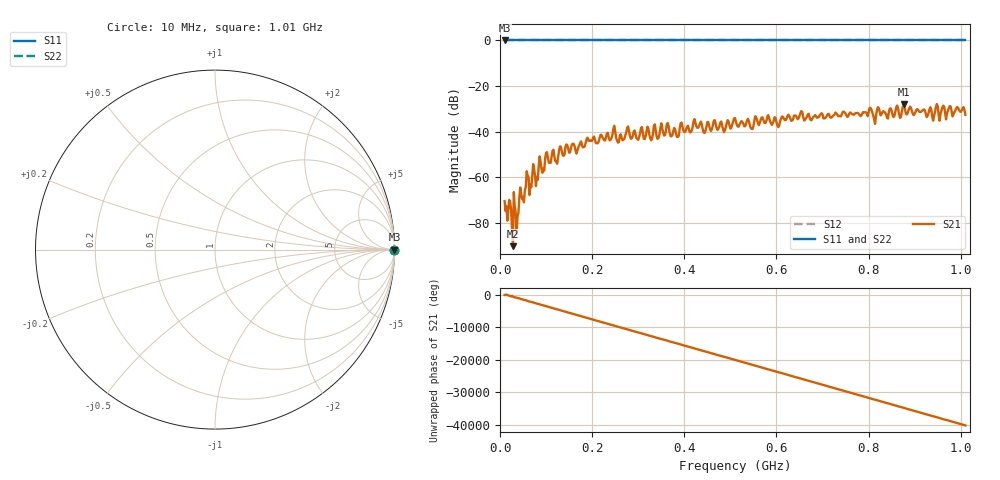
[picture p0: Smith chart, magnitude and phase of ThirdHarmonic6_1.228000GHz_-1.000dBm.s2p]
! 8/16/2025 12:56:48 PM
! C:\ANRITSUVNA\TEMP\TEMP.S2P
! CHANNEL.1
! TR.MEASUREMENT
! RAW.DATA
! RF.CORRECTION.OFF
! AVERAGING.OFF
! IF.BANDWIDTH: 5KHZ
! SWEEPTYPE:  FREQ.SWEEP(Linear)
! Reference Plane Port Info
! PORT:  PORT1  PORT2
! DISTANCE:  0  m  0  m
! TIME:  0  s  0  s
! PHASE.OFFSET:  0  deg.  0  deg.
! LOSS:  0  dB  0  dB
! REF.LOSS:  0  dB  0  dB
! REF.FREQ:  0  Hz  0  Hz
! Power Info
! POWER:  -20  dBm  -20  dBm
! EFF.POWER:  -20  dBm  -20  dBm
! SOURCE.ATTEN:  0  dB  0  dB
! TEST.ATTEN:  0  dB  0  dB
# GHZ S RI R 50.0
! FREQ.GHZ  S11RE  S11IM  S21RE  S21IM  S12RE  S12IM  S22RE  S22IM
!; PortSelection: Port_12
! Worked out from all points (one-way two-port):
!   501 points, 10 MHz to 1.01 GHz, reference 50 ohm
!   highest |S21| = -27.83 dB at 876 MHz (marker M1); lowest = -90.1 dB at 28 MHz (marker M2)
!   lowest |S11| = 0.0 dB at 10 MHz (marker M3)
!   |S11| at or under -10 dB: nowhere
!   |S22| runs from 0.0 to 0.0 dB; largest |S21 - S12| = 1
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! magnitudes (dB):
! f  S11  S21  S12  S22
! 10 MHz  0.0  -70.3  0.0  0.0
! 28 MHz  0.0  -90.1  0.0  0.0
! 36 MHz  0.0  -85.0  0.0  0.0
! 58 MHz  0.0  -57.3  0.0  0.0
! 80 MHz  0.0  -59.7  0.0  0.0
! 102 MHz  0.0  -48.9  0.0  0.0
! 122 MHz  0.0  -53.0  0.0  0.0
! 132 MHz  0.0  -46.5  0.0  0.0
! 178 MHz  0.0  -46.1  0.0  0.0
! 246 MHz  0.0  -38.6  0.0  0.0
! 256 MHz  0.0  -44.7  0.0  0.0
! 276 MHz  0.0  -38.3  0.0  0.0
! 344 MHz  0.0  -42.6  0.0  0.0
! 364 MHz  0.0  -36.1  0.0  0.0
! 384 MHz  0.0  -42.2  0.0  0.0
! 510 MHz  0.0  -34.0  0.0  0.0
! 546 MHz  0.0  -38.7  0.0  0.0
! 556 MHz  0.0  -33.8  0.0  0.0
! 678 MHz  0.0  -34.1  0.0  0.0
! 844 MHz  0.0  -31.2  0.0  0.0
! 876 MHz  0.0  -27.8  0.0  0.0
! 1.01 GHz  0.0  -32.6  0.0  0.0
